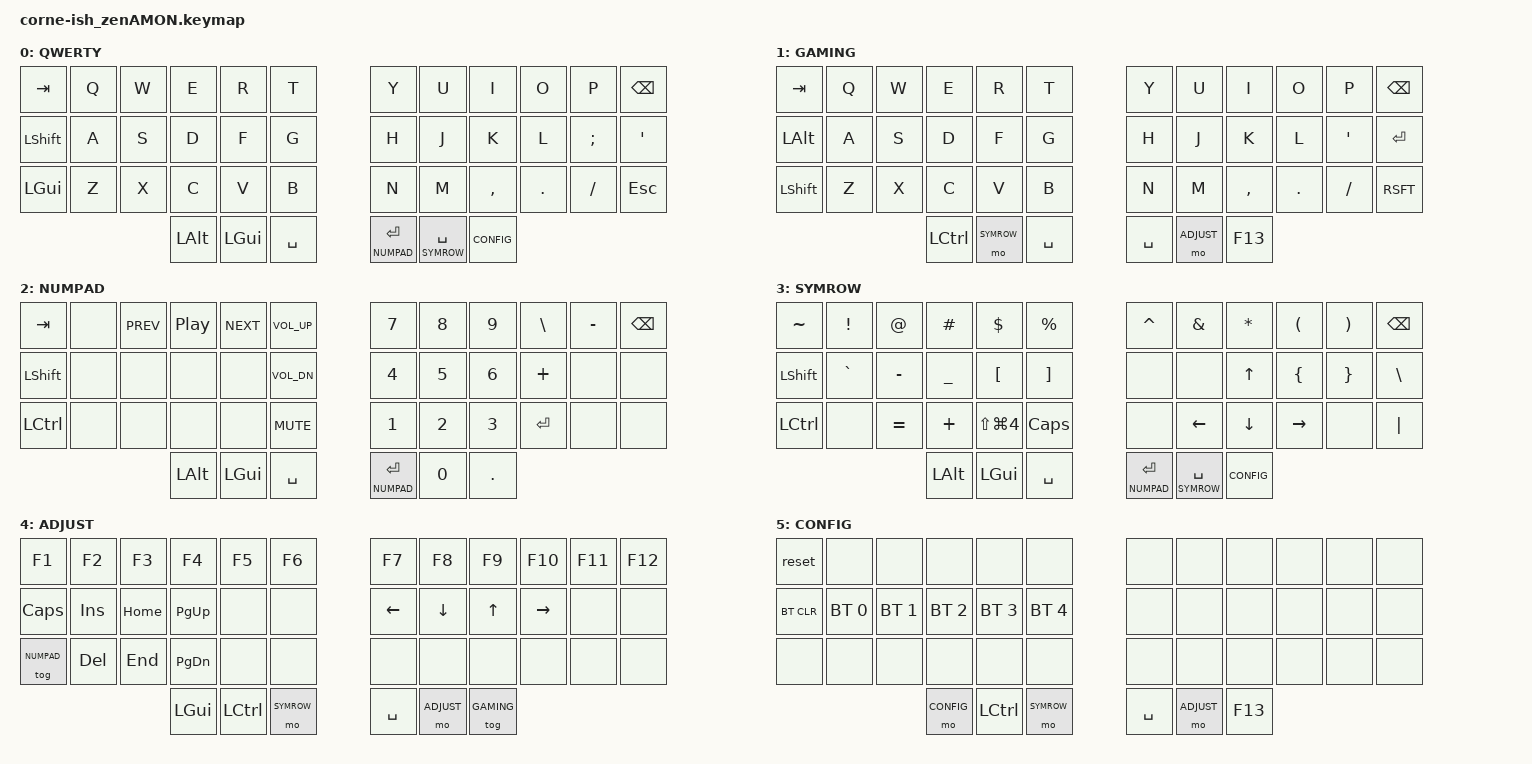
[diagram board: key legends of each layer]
/*
*
* Copyright (c) 2021 lowprokb.ca
* SPDX-License-Identifier: MIT
*
*/

#include <behaviors.dtsi>
#include <dt-bindings/zmk/keys.h>
#include <dt-bindings/zmk/bt.h>

#define QWERTY 0
#define GAMING 1
#define NUMPAD 2
#define SYMROW 3
#define ADJUST 4
#define CONFIG 5

&mt {
    tapping-term-ms = <400>;
};


/ {
        keymap {
                compatible = "zmk,keymap";

                default_layer {
                        label = "QWERTY";
// -----------------------------------------------------------------------------------------
// | TAB  |  Q  |  W  |  E  |  R  |  T  |   |  Y  |  U   |  I  |  O  |  P  | BSPC |
// | SHFT |  A  |  S  |  D  |  F  |  G  |   |  H  |  J   |  K  |  L  |  ;  |  '   |
// | CTRL |  Z  |  X  |  C  |  V  |  B  |   |  N  |  M   |  ,  |  .  |  /  | ESC  |
//                    | LALT| LGUI|  SPC|   | nument | SYMROW SPC  | config |
                        bindings = <
   &kp TAB    &kp Q  &kp W &kp E &kp R &kp T     &kp Y &kp U &kp I     &kp O    &kp P    &kp BSPC
   &kp LSHFT  &kp A  &kp S &kp D &kp F &kp G     &kp H &kp J &kp K     &kp L    &kp SEMI &kp SQT
   &kp LGUI   &kp Z  &kp X &kp C &kp V &kp B     &kp N &kp M &kp COMMA &kp DOT  &kp FSLH &kp ESC
              &kp LALT &kp LGUI &kp SPACE          &lt NUMPAD ENTER &lt SYMROW SPACE  &kp CONFIG
                        >;
                };

                gaming_layer {
                        label = "GAMING";
                        bindings = <
   &kp TAB   &kp Q &kp W &kp E &kp R &kp T    &kp Y &kp U &kp I    &kp O   &kp P    &kp BKSP
   &kp LALT  &kp A &kp S &kp D &kp F &kp G    &kp H &kp J &kp K    &kp L   &kp QUOT &kp ENTER
   &kp LSHFT &kp Z &kp X &kp C &kp V &kp B    &kp N &kp M &kp CMMA &kp DOT &kp FSLH &kp RSFT
               &kp LCTRL &mo SYMROW &kp SPACE    &kp SPACE &mo ADJUST &kp F13
                        >;
                };

                numpad_layer {
                        label = "NUMPAD";
                        bindings = < 
// -----------------------------------------------------------------------------------------
// | TAB  |  _  |PREV |PLAY |NEXT |  VolUP |   |  7  |  8   |  9  |  \  |  -  | BSPC |
// | SHFT |  _  |  _  |  _  |  _  |  VOLDN |   |  4  |  5   |  6  |  +  |  _  |  _   |
// | CTRL |  —  |  —  |  _  |  _  |  MUTE  |   |  1  |  2   |  3  |  ENT|  _  | _    |
//                    | LALT| LGUI|  SPC   |   | nument | 0  | . |

   &kp TAB   &none &kp C_PREV &kp C_PP &kp C_NEXT &kp C_VOL_UP           &kp N7  &kp N8 &kp N9 &kp BSLH    &kp MINUS &kp BSPC
   &kp LSHFT &none &none      &none    &none      &kp C_VOL_DN           &kp N4  &kp N5 &kp N6 &kp PLUS    &none     &none
   &kp LCTRL  &none &none      &none    &none      &kp C_MUTE             &kp N1  &kp N2 &kp N3 &kp ENTER   &none     &none
              &kp LALT &kp LGUI &kp SPACE                                  &lt NUMPAD ENTER &kp N0 &kp DOT
                        >;
                };

                symrow_layer {
                        label = "SYMROW";
                        bindings = <
// -----------------------------------------------------------------------------------------
// |  `   |  !  |  @  |  #  |  $  |  %  |   |  ^  |  &  |  *  |  (  |  )  | BSPC |
// | SHFT |  `  |  -  |  _  |  [  |  ]  |   |     |     |  UP |  {  |  }  |   \  |
// | CTRL |     |  =  | +   | SS  | CAPS|   |     | LEFT|DOWN |RIGHT|     |  |   |
//                    | LALT| LGUI|  SPC|   | nument | SYMROW SPC  | config |
   &kp TILDE  &kp EXCL  &kp AT    &kp HASH   &kp DLLR       &kp PRCNT    &kp CARET &kp AMPS  &kp STAR   &kp LPAR  &kp RPAR  &kp BSPC
   &kp LSHFT  &kp GRAVE &kp MINUS &kp UNDER  &kp LBKT       &kp RBKT     &none     &none     &kp UP     &kp LBRC  &kp RBRC  &kp BSLH
   &kp LCTRL   &none     &kp EQUAL &kp PLUS   &kp LS(LG(N4)) &kp CAPS     &none     &kp LEFT  &kp DOWN   &kp RIGHT &none     &kp PIPE 
                          &kp LALT &kp LGUI &kp SPACE                      &lt NUMPAD ENTER &lt SYMROW SPACE  &kp CONFIG
                        >;
                };

                adjust_layer {
                        label = "ADJUST";
                        bindings = <
   &kp F1      &kp F2  &kp F3   &kp F4    &kp F5 &kp F6    &kp F7   &kp F8   &kp F9 &kp F10   &kp F11 &kp F12
   &kp CAPS    &kp INS &kp HOME &kp PG_UP &none  &none     &kp LEFT &kp DOWN &kp UP &kp RIGHT &none   &none
   &tog NUMPAD &kp DEL &kp END  &kp PG_DN &none  &none     &none    &none    &none  &none     &none   &none
                           &kp LGUI &kp LCTRL &mo SYMROW    &kp SPACE &mo ADJUST &tog GAMING
                        >;
                };

                config_layer {
                        label = "CONFIG";
                        bindings = <
   &reset     &none        &none        &none        &none        &none           &none &none &none &none &none &none 
   &bt BT_CLR &bt BT_SEL 0 &bt BT_SEL 1 &bt BT_SEL 2 &bt BT_SEL 3 &bt BT_SEL 4    &none &none &none &none &none &none
   &none      &none        &none        &none        &none        &none           &none &none &none &none &none &none
                                                &mo CONFIG &kp LCTRL &mo SYMROW    &kp SPACE &mo ADJUST &kp F13
                        >;
                };
        };
};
